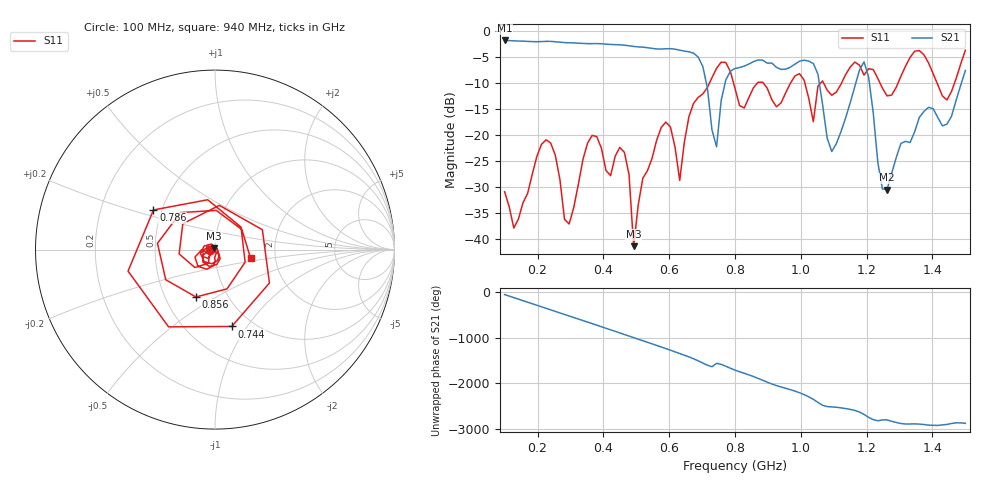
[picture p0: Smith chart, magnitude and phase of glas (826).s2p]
! NanoVNA-App
! Date: 2025-09-25 16:01:54
! Start: 100MHz Stop: 1,5GHz Points: 101
! S-Parameter data: F S11 S21 S12 S22
# Hz S RI R 50
!  Frequency  S11_Real  S11_Imag  S21_Real  S21_Imag  S12_Real  S12_Imag  S22_Real  S22_Imag
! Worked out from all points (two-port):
!   101 points, 100 MHz to 1.5 GHz, reference 50 ohm
!   highest |S21| = -1.80 dB at 100 MHz (marker M1); lowest = -30.5 dB at 1.262 GHz (marker M2)
!   |S21| within 3 dB of the highest: start of sweep to 684.4 MHz
!   lowest |S11| = -41.4 dB at 492 MHz (marker M3), VSWR 1.02, Z = 49.4 + j0.639 ohm
!   |S11| at or under -10 dB: start of sweep to 722.4 MHz; 795.5 MHz to 868 MHz (72.5 MHz wide, 8.72 % of centre); 886 MHz to 968.7 MHz (82.71 MHz wide, 8.92 % of centre) (the widest 3 of 7)
!   S12 and S22 are empty: the file has one direction only
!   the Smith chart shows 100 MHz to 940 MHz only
!   S11 on the Smith chart (normalised r, x): 100 MHz: 0.94, -0.01; 744 MHz: 0.80, -0.85; 786 MHz: 0.45, +0.24; 856 MHz: 0.71, -0.41; 940 MHz: 1.49, -0.15
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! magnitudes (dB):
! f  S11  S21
! 100 MHz  -30.9  -1.8
! 128 MHz  -37.9  -1.9
! 226 MHz  -20.9  -2.0
! 296 MHz  -37.1  -2.2
! 338 MHz  -24.7  -2.4
! 464 MHz  -23.4  -2.7
! 492 MHz  -41.4  -3.0
! 576 MHz  -18.5  -3.5
! 632 MHz  -28.7  -3.7
! 702 MHz  -12.1  -6.8
! 744 MHz  -7.2  -22.3
! 786 MHz  -7.8  -7.7
! 800 MHz  -11.0  -7.2
! 856 MHz  -10.9  -5.9
! 940 MHz  -13.8  -7.4
! 996 MHz  -8.2  -5.8
! 1.038 GHz  -17.4  -6.2
! 1.094 GHz  -12.4  -23.2
! 1.192 GHz  -8.5  -5.9
! 1.262 GHz  -12.5  -30.5
! 1.276 GHz  -12.3  -27.4
! 1.5 GHz  -3.7  -7.6
